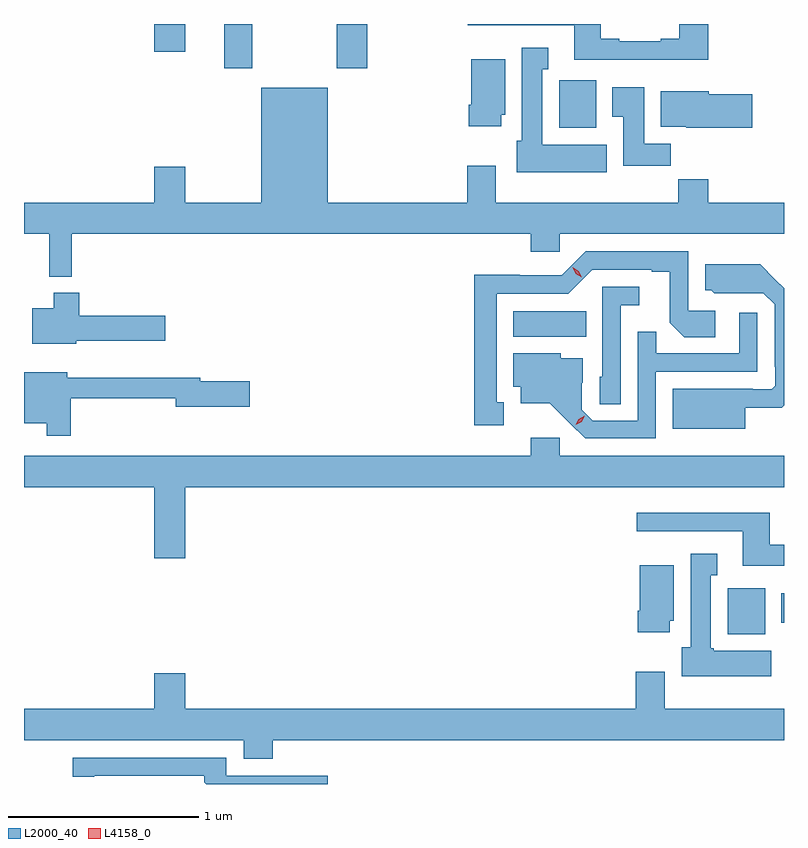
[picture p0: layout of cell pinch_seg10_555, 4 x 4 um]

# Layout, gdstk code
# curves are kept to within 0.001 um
import gdstk
lib = gdstk.Library(unit=1e-6, precision=1e-09)
def R(c, l, rs):  # rectangles x0, y0, x1, y1
    for r in rs: c.add(gdstk.rectangle(r[:2], r[2:], *l))
def P(c, l, *ps):  # polygons
    for p in ps: c.add(gdstk.Polygon(p, *l))
L2000_40 = (2000, 40)
L4158_0 = (4158, 0)

pinch_seg10_555 = lib.new_cell('pinch_seg10_555')
R(pinch_seg10_555, L2000_40, [(323.87,1280.894,324.067,1281.136), (324.152,1280.953,324.167,1281.109), (322.742,1282.46,323.126,1282.594), (322.983,1283.558,323.179,1283.808), (321.221,1283.871,321.369,1284.105), (321.814,1283.871,321.974,1284.105), (320.852,1283.958,321.016,1284.105)])
P(pinch_seg10_555, L2000_40, [(323.768,1284.105),(323.615,1284.105),(323.615,1284.028),(323.519,1284.028),(323.519,1284.015),(323.299,1284.015),(323.299,1284.028),(323.203,1284.028),(323.203,1284.105),(322.503,1284.105),(322.503,1284.099),(323.063,1284.099),(323.063,1283.918),(323.768,1283.918)],
  [(323.233,1283.47),(322.894,1283.47),(322.894,1283.867),(322.927,1283.867),(322.927,1283.98),(322.787,1283.98),(322.787,1283.49),(322.76,1283.49),(322.76,1283.324),(323.233,1283.324)],
  [(322.678,1283.628),(322.699,1283.628),(322.699,1283.92),(322.52,1283.92),(322.52,1283.68),(322.508,1283.68),(322.508,1283.568),(322.678,1283.568)],
  [(323.57,1283.476),(323.431,1283.476),(323.431,1283.773),(323.264,1283.773),(323.264,1283.617),(323.321,1283.617),(323.321,1283.358),(323.57,1283.358)],
  [(320.417,1283),(322.835,1283),(322.835,1282.907),(322.986,1282.907),(322.986,1283),(324.167,1283),(324.167,1283.164),(323.768,1283.164),(323.768,1283.288),(323.611,1283.288),(323.611,1283.164),(322.651,1283.164),(322.651,1283.359),(322.499,1283.359),(322.499,1283.164),(321.766,1283.164),(321.766,1283.77),(321.416,1283.77),(321.416,1283.164),(321.016,1283.164),(321.016,1283.353),(320.852,1283.353),(320.852,1283.164),(320.167,1283.164),(320.167,1283),(320.3,1283),(320.3,1282.775),(320.417,1282.775)],
  [(324.001,1283.735),(323.77,1283.735),(323.77,1283.752),(323.519,1283.752),(323.519,1283.564),(323.652,1283.564),(323.652,1283.558),(324.001,1283.558)],
  [(322.693,1282.113),(322.654,1282.113),(322.654,1282.686),(323.031,1282.686),(323.157,1282.812),(323.471,1282.812),(323.471,1282.8),(323.565,1282.8),(323.565,1282.532),(323.641,1282.456),(323.806,1282.456),(323.806,1282.596),(323.664,1282.596),(323.664,1282.908),(323.124,1282.908),(322.998,1282.782),(322.776,1282.782),(322.776,1282.784),(322.536,1282.784),(322.536,1281.993),(322.693,1281.993)],
  [(323.962,1282.085),(324.154,1282.085),(324.167,1282.098),(324.167,1282.713),(324.041,1282.84),(323.753,1282.84),(323.753,1282.704),(323.784,1282.704),(323.8,1282.688),(324.057,1282.689),(324.117,1282.629),(324.117,1282.3),(324.12,1282.3),(324.12,1282.2),(324.102,1282.182),(324.002,1282.182),(324.002,1282.186),(323.582,1282.186),(323.582,1281.974),(323.962,1281.974)],
  [(323.307,1282.625),(323.404,1282.625),(323.404,1282.722),(323.211,1282.722),(323.211,1282.248),(323.196,1282.248),(323.196,1282.105),(323.307,1282.105)],
  [(320.442,1282.439),(320.911,1282.439),(320.911,1282.569),(320.459,1282.569),(320.459,1282.69),(320.324,1282.69),(320.324,1282.609),(320.21,1282.609),(320.21,1282.421),(320.442,1282.421)],
  [(323.493,1282.275),(324.027,1282.275),(324.027,1282.585),(323.931,1282.585),(323.931,1282.371),(323.495,1282.371),(323.495,1282.484),(323.397,1282.484),(323.397,1282.017),(323.16,1282.017),(323.103,1282.074),(323.103,1282.216),(323.107,1282.216),(323.107,1282.345),(322.992,1282.345),(322.992,1282.372),(322.742,1282.372),(322.742,1282.196),(322.781,1282.196),(322.781,1282.109),(322.933,1282.109),(323.12,1281.924),(323.493,1281.924)],
  [(320.414,1282.134),(320.966,1282.134),(320.966,1282.091),(321.355,1282.091),(321.355,1282.226),(321.094,1282.226),(321.094,1282.244),(320.395,1282.244),(320.395,1282.273),(320.167,1282.273),(320.167,1282.004),(320.286,1282.004),(320.286,1281.939),(320.414,1281.939)],
  [(321.016,1281.668),(324.167,1281.668),(324.167,1281.832),(322.986,1281.832),(322.986,1281.928),(322.835,1281.928),(322.835,1281.832),(320.167,1281.832),(320.167,1281.668),(320.852,1281.668),(320.852,1281.294),(321.016,1281.294)],
  [(324.167,1281.364),(324.091,1281.364),(324.091,1281.532),(323.391,1281.532),(323.391,1281.435),(323.951,1281.435),(323.951,1281.254),(324.167,1281.254)],
  [(324.1,1280.806),(323.796,1280.806),(323.796,1280.82),(323.782,1280.82),(323.782,1281.203),(323.815,1281.203),(323.815,1281.316),(323.675,1281.316),(323.675,1280.826),(323.63,1280.826),(323.63,1280.672),(324.1,1280.672)],
  [(323.566,1280.964),(323.587,1280.964),(323.587,1281.256),(323.408,1281.256),(323.408,1281.016),(323.396,1281.016),(323.396,1280.904),(323.566,1280.904)],
  [(321.476,1280.336),(324.167,1280.336),(324.167,1280.5),(323.539,1280.5),(323.539,1280.695),(323.387,1280.695),(323.387,1280.5),(321.016,1280.5),(321.016,1280.689),(320.852,1280.689),(320.852,1280.5),(320.167,1280.5),(320.167,1280.336),(321.323,1280.336),(321.323,1280.237),(321.476,1280.237)],
  [(321.766,1280.148),(321.231,1280.148),(321.231,1280.244),(320.424,1280.244),(320.424,1280.143),(320.536,1280.143),(320.536,1280.148),(321.116,1280.148),(321.116,1280.114),(321.125,1280.105),(321.766,1280.105)])
P(pinch_seg10_555, L4158_0, [(323.071,1281.996),(323.071,1281.996),(323.088,1282.026),(323.118,1282.042),(323.119,1282.042),(323.119,1282.042),(323.102,1282.012),(323.071,1281.996)],
  [(323.102,1282.771),(323.071,1282.79),(323.054,1282.823),(323.054,1282.824),(323.054,1282.824),(323.086,1282.804),(323.103,1282.771),(323.103,1282.771)])

lib.write_gds('pinch_seg10_555.gds')
